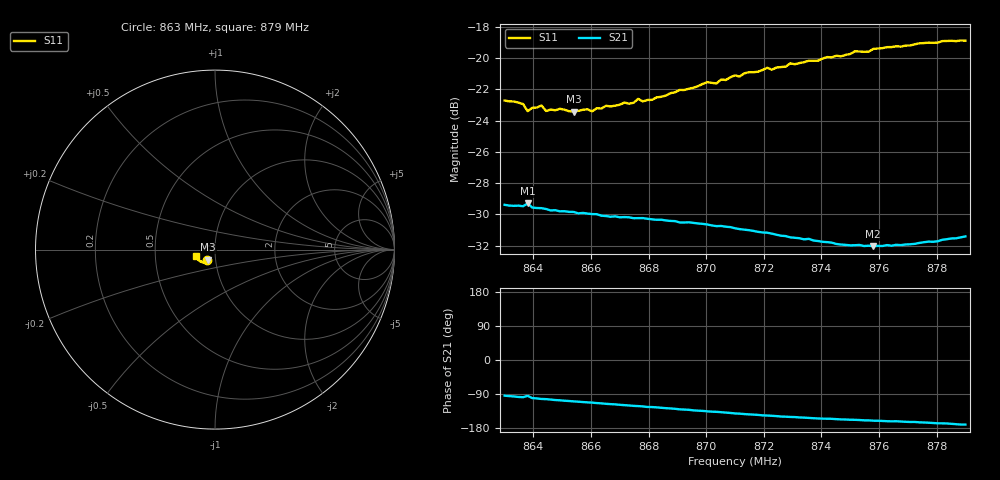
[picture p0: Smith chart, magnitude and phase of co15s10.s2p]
# HZ S RI R 50
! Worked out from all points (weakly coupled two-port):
!   101 points, 863 MHz to 879 MHz, reference 50 ohm
!   highest |S21| = -29.30 dB at 863.8 MHz (marker M1); lowest = -32.0 dB at 875.8 MHz (marker M2)
!   lowest |S11| = -23.4 dB at 865.4 MHz (marker M3), VSWR 1.14, Z = 46.1 - j5.15 ohm
!   |S11| at or under -10 dB: start of sweep to end of sweep
!   S12 and S22 are empty: the file has one direction only
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8.63e8  -0.0471 -0.0559  -0.00247 -0.0338  0 0  0 0
8.6364e8  -0.0446 -0.0555  -0.00479 -0.0332  0 0  0 0
8.638e8  -0.0393 -0.055  -0.00267 -0.0342  0 0  0 0
8.6396e8  -0.0426 -0.0546  -0.00612 -0.0327  0 0  0 0
8.6428e8  -0.0421 -0.0565  -0.00734 -0.0323  0 0  0 0
8.6444e8  -0.0411 -0.0538  -0.00757 -0.032  0 0  0 0
8.6492e8  -0.0406 -0.0555  -0.00914 -0.031  0 0  0 0
8.654e8  -0.0381 -0.0556  -0.0106 -0.0304  0 0  0 0
8.6572e8  -0.0371 -0.0573  -0.0114 -0.0299  0 0  0 0
8.6604e8  -0.0363 -0.0569  -0.0121 -0.0293  0 0  0 0
8.6652e8  -0.0367 -0.06  -0.0135 -0.0282  0 0  0 0
8.6748e8  -0.036 -0.0622  -0.0159 -0.0263  0 0  0 0
8.6764e8  -0.038 -0.0635  -0.0162 -0.0262  0 0  0 0
8.678e8  -0.0371 -0.0624  -0.0165 -0.026  0 0  0 0
8.6844e8  -0.0383 -0.0646  -0.0179 -0.0246  0 0  0 0
8.7004e8  -0.0453 -0.0704  -0.0209 -0.0206  0 0  0 0
8.7036e8  -0.0455 -0.0693  -0.0212 -0.0199  0 0  0 0
8.71e8  -0.051 -0.0717  -0.0222 -0.0179  0 0  0 0
8.7372e8  -0.0678 -0.0706  -0.0234 -0.0116  0 0  0 0
8.758e8  -0.0861 -0.0633  -0.0236 -0.00849  0 0  0 0
8.7644e8  -0.0907 -0.0591  -0.0239 -0.00782  0 0  0 0
8.79e8  -0.1068 -0.0383  -0.0265 -0.00448  0 0  0 0
